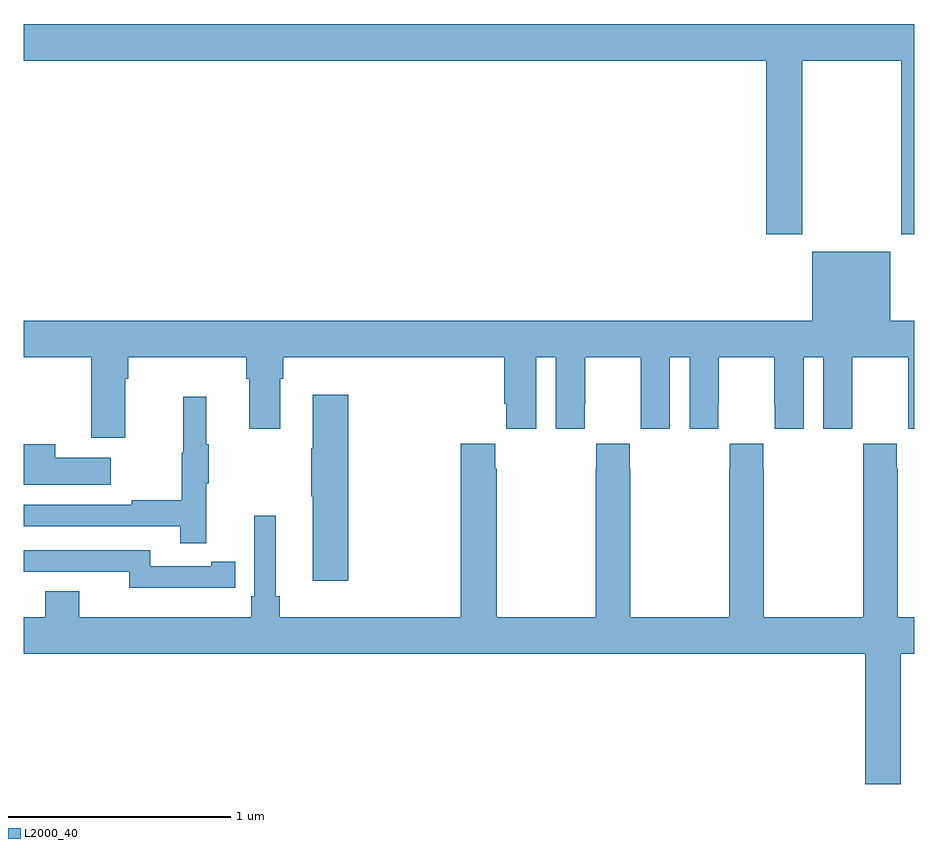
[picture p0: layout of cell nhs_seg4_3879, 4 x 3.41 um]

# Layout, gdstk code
import gdstk
lib = gdstk.Library(unit=1e-6, precision=1e-09)
def P(c, l, *ps):  # polygons
    for p in ps: c.add(gdstk.Polygon(p, *l))
L2000_40 = (2000, 40)

nhs_seg4_3879 = lib.new_cell('nhs_seg4_3879')
P(nhs_seg4_3879, L2000_40, [(318.495,802.148),(318.94,802.148),(318.94,801.369),(319,801.369),(319,802.312),(315,802.312),(315,802.148),(318.335,802.148),(318.335,801.369),(318.495,801.369)],
  [(315,800.816),(315.305,800.816),(315.305,800.454),(315.457,800.454),(315.457,800.72),(315.47,800.72),(315.47,800.816),(316.001,800.816),(316.001,800.72),(316.013,800.72),(316.013,800.496),(316.153,800.496),(316.153,800.72),(316.166,800.72),(316.166,800.816),(317.159,800.816),(317.159,800.608),(317.168,800.608),(317.168,800.496),(317.302,800.496),(317.302,800.816),(317.39,800.816),(317.39,800.496),(317.52,800.496),(317.52,800.608),(317.521,800.608),(317.521,800.816),(317.771,800.816),(317.771,800.608),(317.772,800.608),(317.772,800.496),(317.902,800.496),(317.902,800.816),(317.99,800.816),(317.99,800.496),(318.12,800.496),(318.12,800.608),(318.121,800.608),(318.121,800.816),(318.371,800.816),(318.371,800.608),(318.372,800.608),(318.372,800.496),(318.502,800.496),(318.502,800.816),(318.59,800.816),(318.59,800.496),(318.72,800.496),(318.72,800.608),(318.721,800.608),(318.721,800.816),(318.971,800.816),(318.971,800.608),(318.972,800.608),(318.972,800.496),(319,800.496),(319,800.98),(318.892,800.98),(318.892,801.289),(318.542,801.289),(318.542,800.98),(315,800.98)],
  [(316.457,800.647),(316.298,800.647),(316.298,800.408),(316.291,800.408),(316.291,800.191),(316.298,800.191),(316.298,799.812),(316.457,799.812)],
  [(315.821,800.251),(315.832,800.251),(315.832,800.425),(315.821,800.425),(315.821,800.638),(315.718,800.638),(315.718,800.388),(315.711,800.388),(315.711,800.174),(315.487,800.174),(315.487,800.154),(315,800.154),(315,800.058),(315.703,800.058),(315.703,799.98),(315.821,799.98)],
  [(318.939,799.484),(319,799.484),(319,799.648),(318.924,799.648),(318.924,800.315),(318.921,800.315),(318.921,800.428),(318.771,800.428),(318.771,800.315),(318.769,800.315),(318.769,799.648),(318.324,799.648),(318.324,800.315),(318.321,800.315),(318.321,800.428),(318.171,800.428),(318.171,800.315),(318.169,800.315),(318.169,799.648),(317.724,799.648),(317.724,800.315),(317.721,800.315),(317.721,800.428),(317.571,800.428),(317.571,800.315),(317.569,800.315),(317.569,799.648),(317.124,799.648),(317.124,800.315),(317.117,800.315),(317.117,800.428),(316.964,800.428),(316.964,799.648),(316.151,799.648),(316.151,799.744),(316.132,799.744),(316.132,800.104),(316.035,800.104),(316.035,799.744),(316.022,799.744),(316.022,799.648),(315.25,799.648),(315.25,799.765),(315.098,799.765),(315.098,799.648),(315,799.648),(315,799.484),(318.779,799.484),(318.779,798.9),(318.939,798.9)],
  [(315.391,800.365),(315.143,800.365),(315.143,800.425),(315,800.425),(315,800.243),(315.391,800.243)],
  [(315.842,799.782),(315.95,799.782),(315.95,799.898),(315.842,799.898),(315.842,799.878),(315.57,799.878),(315.57,799.95),(315,799.95),(315,799.853),(315.014,799.853),(315.014,799.854),(315.474,799.854),(315.474,799.781),(315.842,799.781)])

lib.write_gds('nhs_seg4_3879.gds')
